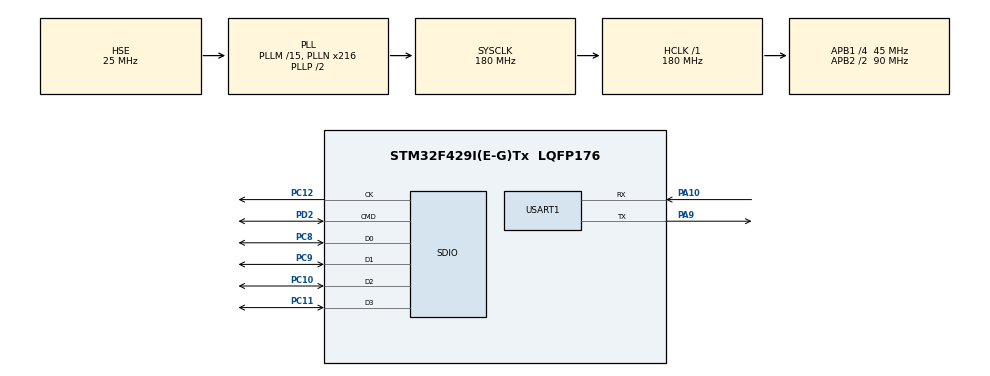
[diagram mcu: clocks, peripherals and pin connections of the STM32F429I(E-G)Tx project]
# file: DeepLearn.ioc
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Dma.Request0=SDIO_RX
Dma.Request1=SDIO_TX
Dma.Request2=USART1_RX
Dma.SDIO_RX.0.Direction=DMA_PERIPH_TO_MEMORY
Dma.SDIO_RX.0.FIFOMode=DMA_FIFOMODE_ENABLE
Dma.SDIO_RX.0.FIFOThreshold=DMA_FIFO_THRESHOLD_FULL
Dma.SDIO_RX.0.Instance=DMA2_Stream3
Dma.SDIO_RX.0.MemBurst=DMA_MBURST_INC4
Dma.SDIO_RX.0.MemDataAlignment=DMA_MDATAALIGN_WORD
Dma.SDIO_RX.0.MemInc=DMA_MINC_ENABLE
Dma.SDIO_RX.0.Mode=DMA_PFCTRL
Dma.SDIO_RX.0.PeriphBurst=DMA_PBURST_INC4
Dma.SDIO_RX.0.PeriphDataAlignment=DMA_PDATAALIGN_WORD
Dma.SDIO_RX.0.PeriphInc=DMA_PINC_DISABLE
Dma.SDIO_RX.0.Priority=DMA_PRIORITY_LOW
Dma.SDIO_TX.1.Direction=DMA_MEMORY_TO_PERIPH
Dma.SDIO_TX.1.FIFOMode=DMA_FIFOMODE_ENABLE
Dma.SDIO_TX.1.FIFOThreshold=DMA_FIFO_THRESHOLD_FULL
Dma.SDIO_TX.1.Instance=DMA2_Stream6
Dma.SDIO_TX.1.MemBurst=DMA_MBURST_INC4
Dma.SDIO_TX.1.MemDataAlignment=DMA_MDATAALIGN_WORD
Dma.SDIO_TX.1.MemInc=DMA_MINC_ENABLE
Dma.SDIO_TX.1.Mode=DMA_PFCTRL
Dma.SDIO_TX.1.PeriphBurst=DMA_PBURST_INC4
Dma.SDIO_TX.1.PeriphDataAlignment=DMA_PDATAALIGN_WORD
Dma.SDIO_TX.1.PeriphInc=DMA_PINC_DISABLE
Dma.SDIO_TX.1.Priority=DMA_PRIORITY_LOW
Dma.USART1_RX.2.Direction=DMA_PERIPH_TO_MEMORY
Dma.USART1_RX.2.FIFOMode=DMA_FIFOMODE_DISABLE
Dma.USART1_RX.2.Instance=DMA2_Stream2
Dma.USART1_RX.2.MemDataAlignment=DMA_MDATAALIGN_BYTE
Dma.USART1_RX.2.MemInc=DMA_MINC_ENABLE
Dma.USART1_RX.2.Mode=DMA_CIRCULAR
Dma.USART1_RX.2.PeriphDataAlignment=DMA_PDATAALIGN_BYTE
Dma.USART1_RX.2.PeriphInc=DMA_PINC_DISABLE
Dma.USART1_RX.2.Priority=DMA_PRIORITY_LOW
Mcu.Family=STM32F4
Mcu.Name=STM32F429I(E-G)Tx
Mcu.Package=LQFP176
NVIC.DMA2_Stream2_IRQn=true\:0\:0\:false\:false\:true\:false
NVIC.DMA2_Stream3_IRQn=true\:0\:0\:false\:false\:true\:false
NVIC.DMA2_Stream6_IRQn=true\:0\:0\:false\:false\:true\:false
NVIC.PriorityGroup=NVIC_PRIORITYGROUP_4
NVIC.SDIO_IRQn=true\:0\:0\:false\:false\:true\:true
NVIC.USART1_IRQn=true\:0\:0\:false\:false\:true\:true
PA10.Mode=Asynchronous
PA10.Signal=USART1_RX
PA13.Mode=Serial_Wire
PA13.Signal=SYS_JTMS-SWDIO
PA14.Mode=Serial_Wire
PA14.Signal=SYS_JTCK-SWCLK
PA9.Mode=Asynchronous
PA9.Signal=USART1_TX
PC10.Mode=SD_4_bits_Wide_bus
PC10.Signal=SDIO_D2
PC11.Mode=SD_4_bits_Wide_bus
PC11.Signal=SDIO_D3
PC12.Mode=SD_4_bits_Wide_bus
PC12.Signal=SDIO_CK
PC8.Mode=SD_4_bits_Wide_bus
PC8.Signal=SDIO_D0
PC9.Mode=SD_4_bits_Wide_bus
PC9.Signal=SDIO_D1
PD2.Mode=SD_4_bits_Wide_bus
PD2.Signal=SDIO_CMD
PH0/OSC_IN.Mode=HSE-External-Oscillator
PH0/OSC_IN.Signal=RCC_OSC_IN
PH1/OSC_OUT.Mode=HSE-External-Oscillator
PH1/OSC_OUT.Signal=RCC_OSC_OUT
ProjectManager.HeapSize=0x200
ProjectManager.StackSize=0x800
ProjectManager.TargetToolchain=MDK-ARM V5
RCC.48MHZClocksFreq_Value=45000000
RCC.AHBFreq_Value=180000000
RCC.APB1CLKDivider=RCC_HCLK_DIV4
RCC.APB1Freq_Value=45000000
RCC.APB1TimFreq_Value=90000000
RCC.APB2CLKDivider=RCC_HCLK_DIV2
RCC.APB2Freq_Value=90000000
RCC.APB2TimFreq_Value=180000000
RCC.CortexFreq_Value=180000000
RCC.HCLKFreq_Value=180000000
RCC.HSE_VALUE=25000000
RCC.HSI_VALUE=16000000
RCC.LSE_VALUE=32768
RCC.PLLM=15
RCC.PLLN=216
RCC.PLLQ=8
RCC.PLLSourceVirtual=RCC_PLLSOURCE_HSE
RCC.SYSCLKFreq_VALUE=180000000
RCC.SYSCLKSource=RCC_SYSCLKSOURCE_PLLCLK
RCC.VCOOutputFreq_Value=360000000
USART1.VirtualMode=VM_ASYNC
VP_FATFS_VS_SDIO.Mode=SDIO
board=custom

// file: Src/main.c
/**
  ******************************************************************************
  * @file           : main.c
  * @brief          : Main program body
  ******************************************************************************
  * This notice applies to any and all portions of this file
  * that are not between comment pairs USER CODE BEGIN and
  * USER CODE END. Other portions of this file, whether
  * inserted by the user or by software development tools
  * are owned by their respective copyright owners.
  *
  * Copyright (c) 2019 STMicroelectronics International N.V.
  * All rights reserved.
  *
  * Redistribution and use in source and binary forms, with or without
  * modification, are permitted, provided that the following conditions are met:
  *
  * 1. Redistribution of source code must retain the above copyright notice,
  *    this list of conditions and the following disclaimer.
  * 2. Redistributions in binary form must reproduce the above copyright notice,
  *    this list of conditions and the following disclaimer in the documentation
  *    and/or other materials provided with the distribution.
  * 3. Neither the name of STMicroelectronics nor the names of other
  *    contributors to this software may be used to endorse or promote products
  *    derived from this software without specific written permission.
  * 4. This software, including modifications and/or derivative works of this
  *    software, must execute solely and exclusively on microcontroller or
  *    microprocessor devices manufactured by or for STMicroelectronics.
  * 5. Redistribution and use of this software other than as permitted under
  *    this license is void and will automatically terminate your rights under
  *    this license.
  *
  * THIS SOFTWARE IS PROVIDED BY STMICROELECTRONICS AND CONTRIBUTORS "AS IS"
  * AND ANY EXPRESS, IMPLIED OR STATUTORY WARRANTIES, INCLUDING, BUT NOT
  * LIMITED TO, THE IMPLIED WARRANTIES OF MERCHANTABILITY, FITNESS FOR A
  * PARTICULAR PURPOSE AND NON-INFRINGEMENT OF THIRD PARTY INTELLECTUAL PROPERTY
  * RIGHTS ARE DISCLAIMED TO THE FULLEST EXTENT PERMITTED BY LAW. IN NO EVENT
  * SHALL STMICROELECTRONICS OR CONTRIBUTORS BE LIABLE FOR ANY DIRECT, INDIRECT,
  * INCIDENTAL, SPECIAL, EXEMPLARY, OR CONSEQUENTIAL DAMAGES (INCLUDING, BUT NOT
  * LIMITED TO, PROCUREMENT OF SUBSTITUTE GOODS OR SERVICES; LOSS OF USE, DATA,
  * OR PROFITS; OR BUSINESS INTERRUPTION) HOWEVER CAUSED AND ON ANY THEORY OF
  * LIABILITY, WHETHER IN CONTRACT, STRICT LIABILITY, OR TORT (INCLUDING
  * NEGLIGENCE OR OTHERWISE) ARISING IN ANY WAY OUT OF THE USE OF THIS SOFTWARE,
  * EVEN IF ADVISED OF THE POSSIBILITY OF SUCH DAMAGE.
  *
  ******************************************************************************
  */
#include "main.h"
#include "stm32f4xx_hal.h"
#include "dma.h"
#include "fatfs.h"
#include "sdio.h"
#include "usart.h"
#include "gpio.h"

/* USER CODE BEGIN Includes */
#include "matrix.h"
#include "numpy.h"
#include "MINIST.H"
#include "GradientDescent.h"

#include "stm32f4xx_hal_uart.h"
#define	BUFNUM 30
u8 pIDLE_Buff[BUFNUM] = {0};
u32 while_i = 0;
numpy np;
matrixStr* weight ;
u8 flag_test = 0;
u32 stardat = 0;
u32 enddat = 0;
extern DMA_HandleTypeDef hdma_usart1_rx;
/* USER CODE END Includes */

/* USER CODE BEGIN PV */
/* Private variables ---------------------------------------------------------*/

/* USER CODE END PV */

void SystemClock_Config(void);

/* USER CODE BEGIN PFP */
/* Private function prototypes -----------------------------------------------*/

/* USER CODE END PFP */

int main(void)
{

  /* MCU Configuration----------------------------------------------------------*/

  /* Reset of all peripherals, Initializes the Flash interface and the Systick. */
  HAL_Init();

  /* Configure the system clock */
  SystemClock_Config();

  /* Initialize all configured peripherals */
  MX_GPIO_Init();
  MX_DMA_Init();
  MX_USART1_UART_Init();
  MX_SDIO_SD_Init();
  MX_FATFS_Init();
  /* USER CODE BEGIN 2 */
	printf("\r\nstart:\r\n");

	numpy_Init(&np);
	float learnRate = 0.1;//0.001;
	weight = np.ones(785,10);	//代表10个数的weight
	//weight = np.array(785,10);
	//np.apendData(weight,(matDAT*)weightDat2816);//加载数据
	HAL_UART_Receive_DMA(&huart1,pIDLE_Buff,BUFNUM);
	__HAL_UART_ENABLE_IT(&huart1, UART_IT_IDLE);						// 开启空闲接收中断
	__HAL_UART_CLEAR_IDLEFLAG(&huart1); 										//清空闲中断

#define	STEP	10
	//训练
	while(1)
	{

		miniData*  mini = MinistGetData((while_i*STEP)%(60000),STEP);
		printf("%d	",while_i);
		//np.printMat(mini->labelData);

		weight = TrainMinist(&np,mini->featureData,mini->labelData,weight,learnRate,100);
		_free((u8*)(mini->featureData));
		_free((u8*)mini->labelData);
		_free(mini);

		while_i++;
		if(flag_test==1)
		{
				flag_test = 0;
				miniData*  mini = MinistGetTestData(stardat,enddat%15);
			//	printf("-----测试集数据：---------\r\n");
			//	np.printMat(mini->labelData);

				matrixStr* test = Test(np.sigmoid,mini->featureData,weight);
			printf("---------------------------start: %d----------------------------\r\n\r\n",stardat);
			for(u8 i=0;i<enddat%15;i++)
			{
				if(Get_Mat(mini->labelData,i,0) != (float)GetListMax(test,i))printf("!error		");
				else printf("ok		");
				printf("[%d]真实值为: %d	测试值为: %d	概率为 %.2f\r\n\r\n",\
				stardat+i,(u8)Get_Mat(mini->labelData,i,0),GetListMax(test,i),Get_Mat(test,i,GetListMax(test,i)));

			}
			printf("---------------------------end: %d------------------------------\r\n\r\n",enddat%15);
				_free((u8*)(mini->featureData));
				_free((u8*)mini->labelData);
				_free(mini);
				_free(test);
		}
		if(flag_test == 100)	//测试所有测试集
		{
				flag_test = 0;
				u16 erro_time = 0;
				miniData*  mini = MinistGetTestData(0,1);
				u16	num = 10000;
			for(u16 i =0;i<num;i+=10)
			{
				miniData*  mini = MinistGetTestData(i,10);
				//printf("-----测试集数据：---------\r\n");
				//np.printMat(mini->labelData);

				matrixStr* test = Test(np.sigmoid,mini->featureData,weight);
				for(u8 i = 0;i< mini->labelData->rows;i++)
				{
					if(Get_Mat(mini->labelData,i,0) != (float)GetListMax(test,i))
					{
						erro_time ++;

					}
				}
				if(i%100 == 0)printf("已经测试%d条\r\n",i+100);
				_free((u8*)(mini->featureData));
				_free((u8*)mini->labelData);
				_free(mini);
				_free(test);
			}
			printf("测试完成:\r\n	失败数：%d,\r\n	测试量：%d,\r\n	成功率：%.2f\r\n",erro_time,num,(float)(num -erro_time)/num);
		}
	}

  /* USER CODE END 2 */

  /* Infinite loop */
  while (1)
  {

  }

}

void SystemClock_Config(void)
{

  RCC_OscInitTypeDef RCC_OscInitStruct;
  RCC_ClkInitTypeDef RCC_ClkInitStruct;

    /**Configure the main internal regulator output voltage
    */
  __HAL_RCC_PWR_CLK_ENABLE();

  __HAL_PWR_VOLTAGESCALING_CONFIG(PWR_REGULATOR_VOLTAGE_SCALE1);

    /**Initializes the CPU, AHB and APB busses clocks
    */
  RCC_OscInitStruct.OscillatorType = RCC_OSCILLATORTYPE_HSE;
  RCC_OscInitStruct.HSEState = RCC_HSE_ON;
  RCC_OscInitStruct.PLL.PLLState = RCC_PLL_ON;
  RCC_OscInitStruct.PLL.PLLSource = RCC_PLLSOURCE_HSE;
  RCC_OscInitStruct.PLL.PLLM = 15;
  RCC_OscInitStruct.PLL.PLLN = 216;
  RCC_OscInitStruct.PLL.PLLP = RCC_PLLP_DIV2;
  RCC_OscInitStruct.PLL.PLLQ = 8;
  if (HAL_RCC_OscConfig(&RCC_OscInitStruct) != HAL_OK)
  {
    _Error_Handler(__FILE__, __LINE__);
  }

    /**Activate the Over-Drive mode
    */
  if (HAL_PWREx_EnableOverDrive() != HAL_OK)
  {
    _Error_Handler(__FILE__, __LINE__);
  }

    /**Initializes the CPU, AHB and APB busses clocks
    */
  RCC_ClkInitStruct.ClockType = RCC_CLOCKTYPE_HCLK|RCC_CLOCKTYPE_SYSCLK
                              |RCC_CLOCKTYPE_PCLK1|RCC_CLOCKTYPE_PCLK2;
  RCC_ClkInitStruct.SYSCLKSource = RCC_SYSCLKSOURCE_PLLCLK;
  RCC_ClkInitStruct.AHBCLKDivider = RCC_SYSCLK_DIV1;
  RCC_ClkInitStruct.APB1CLKDivider = RCC_HCLK_DIV4;
  RCC_ClkInitStruct.APB2CLKDivider = RCC_HCLK_DIV2;

  if (HAL_RCC_ClockConfig(&RCC_ClkInitStruct, FLASH_LATENCY_5) != HAL_OK)
  {
    _Error_Handler(__FILE__, __LINE__);
  }

    /**Configure the Systick interrupt time
    */
  HAL_SYSTICK_Config(HAL_RCC_GetHCLKFreq()/1000);

    /**Configure the Systick
    */
  HAL_SYSTICK_CLKSourceConfig(SYSTICK_CLKSOURCE_HCLK);

  /* SysTick_IRQn interrupt configuration */
  HAL_NVIC_SetPriority(SysTick_IRQn, 0, 0);
}

/* USER CODE BEGIN 4 */

//比较两个字符串，相同则返回指针,不同则返回0
u32 compareStr(u8* str1,u8* str2)
{
	u8 i =0;
	while(str1[i])
	{
		if(str1[i]^str2[i]) //不同
			return 0;
		i++;
	}
	return (u32)&str2[i];
}

//获取一个字符串中的数字,lastAdd保存移动到的地址
u32 GetStrNum(u8* str,u32* lastAdd)
{
	u8 i = 0;
	u32 dat = 0;
	while(str[i] != ',' && str[i] != '\r')
	{
			while(str[i]==' ')i++;
		dat = dat*10 + str[i] - '0';
		i++;
	}
	*lastAdd = (u32)&str[i+1];
	return dat;
}

/************************************************************************************
*-函数名称	：DMA串口接收函数
*-参数			：huart 串口句柄, hdma_usart_rx DMA 串口句柄
*-返回值		：
*-备注			：
*-创建者		：蓬莱市博硕电子科技
*/

void MD_DMAInUART_IDLE()
{
		uint16_t i = 0;

		i = hdma_usart1_rx.Instance->NDTR;
	//	printf("i = %d\r\n",i);
		__HAL_UART_CLEAR_IDLEFLAG(&huart1);
		if(i <= BUFNUM)
		{

			HAL_DMA_Abort(&hdma_usart1_rx);
			hdma_usart1_rx.Instance->NDTR = BUFNUM;//这个寄存器只能在通道不工作(DMA_CCRx的EN=0)时写入
			pIDLE_Buff[BUFNUM - i] = 0;
			printf("\r\n%s\r\n",pIDLE_Buff);
			if(compareStr((u8*)"weight",pIDLE_Buff))
			{
				printf("\r\n--------weight %d------\r\n",while_i);
				np.printMat(weight);
			}

			if(compareStr((u8*)"label",pIDLE_Buff))	//校验
			{
					u32 staraddr = compareStr((u8*)"label",pIDLE_Buff);
					u32 lastAdd =0;
					stardat =  GetStrNum((u8*)staraddr,&lastAdd);
					enddat = GetStrNum((u8*)lastAdd,&staraddr);
					flag_test = 1;

			}
			if(compareStr((u8*)"test all",pIDLE_Buff))	//校验
			{
					flag_test = 100;

			}

		}

		HAL_UART_Receive_DMA(&huart1,pIDLE_Buff,BUFNUM);

		//np.printMat(weight);

}

/* 串口接收空闲中断 */
void UsartReceive_IDLE(UART_HandleTypeDef *huart)
	{

		if(huart == &huart1)
		{
			MD_DMAInUART_IDLE();
		}
	}

/* USER CODE END 4 */

void _Error_Handler(char *file, int line)
{
  /* USER CODE BEGIN Error_Handler_Debug */
  /* User can add his own implementation to report the HAL error return state */
	printf("_Error_Handler FILE :%s ,line : %d\r\n",file,line);
  while(1)
  {
  }
  /* USER CODE END Error_Handler_Debug */
}

/************************ (C) COPYRIGHT STMicroelectronics *****END OF FILE****/
